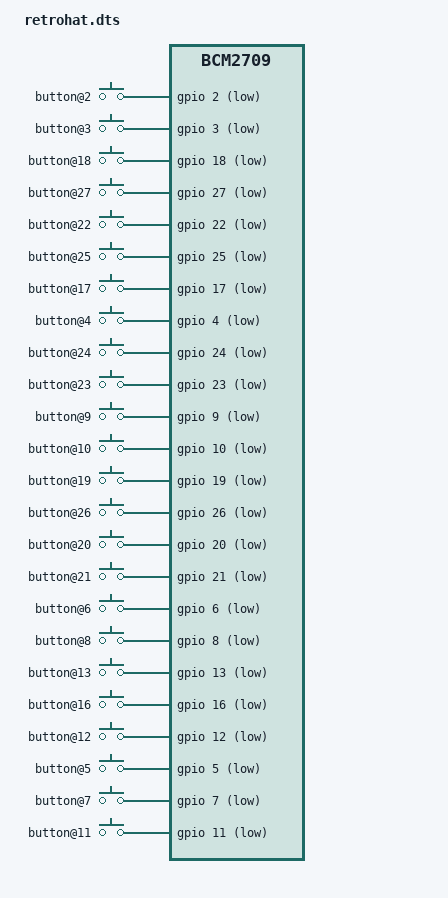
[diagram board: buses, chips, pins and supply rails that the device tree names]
/dts-v1/;
/plugin/;
/ {
    compatible = "brcm,bcm2835", "brcm,bcm2708", "brcm,bcm2709";
    #address-cells = <1>;
    #size-cells = <0>;

    fragment@0 {
        reg = <0>;
        target = <&gpio>;
        __overlay__ {
            pins {
                brcm,pins = <2 3 18 27 22 25 17 4 24 23 9 10 19 26 20 21 6 8 13 16 12 5 7 11>;
                brcm,function = <0>;
                brcm,pull = <2>;
            };
        };
    };

    fragment@1 {
        reg = <1>;
        target-path = "/soc";
        __overlay__ {
            buttons {
                compatible = "gpio-keys";
                #address-cells = <1>;
                #size-cells = <0>;

                button@2 { //Player 1 Down
                    reg = <2>;
                    gpios = <&gpio 2 1>;
                    linux,code = <108>;
                };
                button@3 { //Player 1 Up
                    reg = <3>;
                    gpios = <&gpio 3 1>;
                    linux,code = <103>;
                };
                button@18 { //Player 1 Right
                    reg = <18>;
                    gpios = <&gpio 18 1>;
                    linux,code = <106>;
                };
                button@27 { //Player 1 Left
                    reg = <27>;
                    gpios = <&gpio 27 1>;
                    linux,code = <105>;
                };
                button@22 { //Player 1 Start
                    reg = <22>;
                    gpios = <&gpio 22 1>;
                    linux,code = <28>;
                };
                button@25 { //Player 1 Select
                    reg = <25>;
                    gpios = <&gpio 25 1>;
                    linux,code = <54>;
                };
                button@17 { //Player 1 A
                    reg = <17>;
                    gpios = <&gpio 17 1>;
                    linux,code = <45>;
                };
                button@4 { //Player 1 B
                    reg = <4>;
                    gpios = <&gpio 4 1>;
                    linux,code = <44>;
                };
                button@24 { //Player 1 X
                    linux,code = <31>;
                    gpios = <&gpio 24 1>;
                    reg = <24>;
                };
                button@23 { //Player 1 Y
                    reg = <23>;
                    gpios = <&gpio 23 1>;
                    linux,code = <30>;
                };
                button@9 { //Player 1 L
                    reg = <9>;
                    gpios = <&gpio 9 1>;
                    linux,code = <16>;
                };
                button@10 { //Player 1 R
                    reg = <10>;
                    gpios = <&gpio 10 1>;
                    linux,code = <17>;
                };

                button@19 { //Player 2 Down
                    reg = <19>;
                    gpios = <&gpio 19 1>;
                    linux,code = <2>;
                };
                button@26 { //Player 2 Up
                    reg = <26>;
                    gpios = <&gpio 26 1>;
                    linux,code = <3>;
                };
                button@20 { //Player 2 Right
                    reg = <20>;
                    gpios = <&gpio 20 1>;
                    linux,code = <4>;
                };
                button@21 { //Player 2 Left
                    reg = <21>;
                    gpios = <&gpio 21 1>;
                    linux,code = <5>;
                };
                button@6 { //Player 2 Start
                    reg = <6>;
                    gpios = <&gpio 6 1>;
                    linux,code = <6>;
                };
                button@8 { //Player 2 Select
                    reg = <8>;
                    gpios = <&gpio 8 1>;
                    linux,code = <7>;
                };
                button@13 { //Player 2 A
                    reg = <13>;
                    gpios = <&gpio 13 1>;
                    linux,code = <8>;
                };
                button@16 { //Player 2 B
                    reg = <16>;
                    gpios = <&gpio 16 1>;
                    linux,code = <9>;
                };
                button@12 { //Player 2 X
                    reg = <12>;
                    gpios = <&gpio 12 1>;
                    linux,code = <10>;
                };
                button@5 { //Player 2 Y
                    reg = <5>;
                    gpios = <&gpio 5 1>;
                    linux,code = <11>;
                };
                button@7 { //Player 2 L
                    reg = <7>;
                    gpios = <&gpio 7 1>;
                    linux,code = <12>;
                };
                button@11 { //Player 2 R
                    reg = <11>;
                    gpios = <&gpio 11 1>;
                    linux,code = <13>;
                };
            };
        };
    };
};
